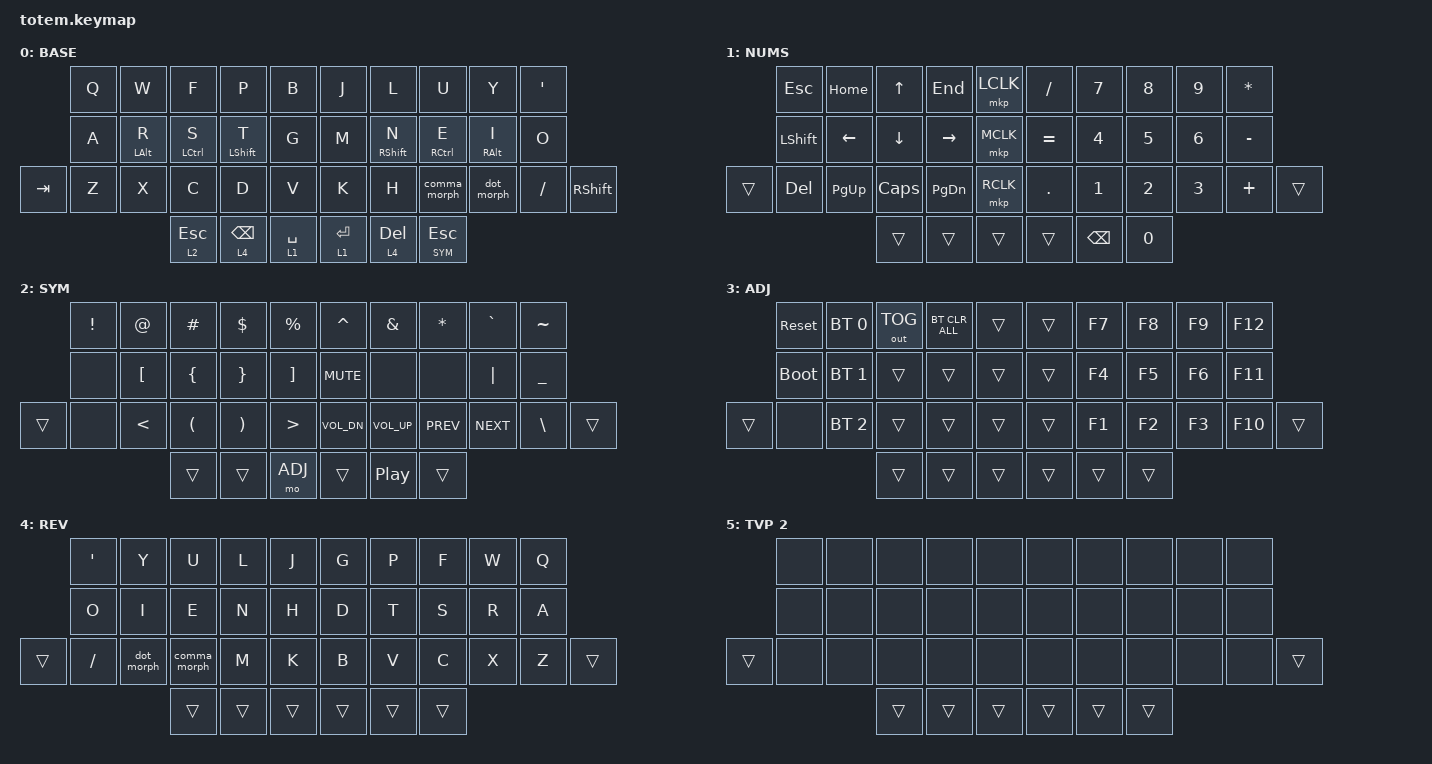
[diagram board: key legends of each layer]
//
//                                                        ▀▀▀▀▀     ▀▀▀▀▀          ▀▀█▀▀
//                                                        ▄▀▀▀▄  ▄  ▄▀▀▀▄  ▄  ▄▀▀▀▄  █  ▄▀▀▀▄
//                                                        █   █  █  █   █  █  █   █  █  █   █
//                                                         ▀▀▀   █   ▀▀▀   █   ▀▀▀   ▀   ▀▀▀
//                                                               █      ▄▄▄█▄▄▄    █   █  
//                                                               ▀      █  █  █     █▄█
//                                                             ▀▀▀▀▀    █  █  █      ▀
//                                                                      ▀  ▀  ▀
//
// ▄▄▄▄▄▄▄▄▄▄▄▄▄▄▄▄▄▄▄▄▄▄▄▄▄▄▄▄▄▄▄▄▄▄▄▄▄▄▄▄▄▄▄▄▄▄▄▄▄▄▄▄▄▄▄▄▄▄▄▄▄▄▄▄▄▄▄▄▄▄▄▄▄▄▄▄▄▄▄▄▄▄▄▄▄▄▄▄▄▄▄▄▄▄▄▄▄▄▄▄▄▄▄▄▄▄▄▄▄▄▄▄▄▄▄▄▄▄▄▄▄▄▄▄▄▄▄▄▄▄▄▄▄▄▄▄▄▄▄▄▄▄▄▄▄▄▄▄▄

#include <dt-bindings/zmk/mouse.h>
#include <behaviors.dtsi>
#include <dt-bindings/zmk/bt.h>
#include <dt-bindings/zmk/keys.h>
#include <dt-bindings/zmk/outputs.h>
#include <dt-bindings/zmk/pointing.h>

#define BASE 0
#define NAV  1
#define SYM  2
#define ADJ  3
#define TVP1 4
#define TVP2 5

&mt {
    flavor = "balanced";
    tapping-term-ms = <280>;
    quick-tap-ms = <175>;
    require-prior-idle-ms = <145>;
    hold-trigger-key-positions = <10 11 12 13 16 17 18 19 37 36 35 34 33 32>;
    hold-trigger-on-release;
};

/ {
    combos {
        compatible = "zmk,combos";

        combo_esc {
            timeout-ms = <50>;
            key-positions = <0 1>;
            bindings = <&kp ESC>;
        };

        combo_rev {
            timeout-ms = <100>;
            key-positions = <1 3>;
            bindings = <&tog TVP1>;
        };

        combo_enter {
            bindings = <&kp ENTER>;
            key-positions = <4 14>;
        };

        combo_numbers {
            bindings = <&tog 1>;
            key-positions = <27 29>;
        };

        combo_enter2 {
            bindings = <&kp ENTER>;
            key-positions = <15 26>;
            layers = <1>;
        };

        combo_Rwin {
            bindings = <&kp RIGHT_WIN>;
            key-positions = <31 9>;
        };

        combo_Lwin {
            bindings = <&kp LEFT_WIN>;
            key-positions = <20 0>;
        };

        combo_Ctrl_C {
            bindings = <&kp LC(C)>;
            key-positions = <23 12>;
        };

        combo_Ctrl_X {
            bindings = <&kp LC(X)>;
            key-positions = <11 22>;
        };

        combo_Ctrl_V {
            bindings = <&kp LC(V)>;
            key-positions = <13 24>;
        };

        combo_Ctrl_Z {
            bindings = <&kp LC(Z)>;
            key-positions = <21 10>;
        };

        combo_Ctrl_S {
            bindings = <&kp LC(S)>;
            key-positions = <2 12>;
        };
    };

    macros {
        gif: gif {
            label = "giphy";
            compatible = "zmk,behavior-macro";
            #binding-cells = <0>;
            bindings =
                <&macro_press>,
                <&kp LSHFT>,
                <&macro_tap>,
                <&kp N2>,
                <&macro_release>,
                <&kp LSHFT>,
                <&macro_tap>,
                <&kp G &kp I &kp F>;
        };
    };

    behaviors {
        comma_morph: comma_morph {
            compatible = "zmk,behavior-mod-morph";
            label = "COMMA_MORPH";
            bindings = <&kp COMMA>, <&kp SEMI>;

            #binding-cells = <0>;
            mods = <(MOD_LSFT|MOD_RSFT)>;
        };

        dot_morph: dot_morph {
            compatible = "zmk,behavior-mod-morph";
            label = "DOT_MORPH";
            bindings = <&kp DOT>, <&kp COLON>;

            #binding-cells = <0>;
            mods = <(MOD_LSFT|MOD_RSFT)>;
        };
    };

    keymap {
        compatible = "zmk,keymap";

        // ▄▄▄▄▄▄▄▄▄▄▄▄▄▄▄▄▄▄▄▄▄▄▄▄▄▄▄▄▄▄▄▄▄▄▄▄▄▄▄▄▄▄▄▄▄▄▄▄▄▄▄▄▄▄▄▄▄▄▄▄▄▄▄▄▄▄▄▄▄▄▄▄▄▄▄▄▄▄▄▄▄▄▄▄▄▄▄▄▄▄▄▄▄▄▄▄▄▄▄▄▄▄▄▄▄▄▄▄▄▄▄▄▄▄▄▄▄▄▄▄▄▄▄▄▄▄▄▄▄▄▄▄▄▄▄▄▄▄▄▄▄▄▄▄▄▄▄▄▄

        base_layer {
            // ┏━━━━━━━━━━━━━━━━━━━━━━━━━━━━━━━━━━━━━━━┓

            label = "BASE";

            // ┗━━━━━━━━━━━━━━━━━━━━━━━━━━━━━━━━━━━━━━━┛
            //  NOTE: Commented layout does not match code, using https://nickcoutsos.github.io/keymap-editor/
            //             ┏━━━━━━━━━━━┳━━━━━━━━━━━┳━━━━━━━━━━━┳━━━━━━━━━━━┳━━━━━━━━━━━┓   ┏━━━━━━━━━━━┳━━━━━━━━━━━┳━━━━━━━━━━━┳━━━━━━━━━━━┳━━━━━━━━━━━┓
            //             ┃           ┃           ┃           ┃           ┃           ┃   ┃           ┃           ┃           ┃           ┃           ┃
            //             ┣━━━━━━━━━━━╋━━━━━━━━━━━╋━━━━━━━━━━━╋━━━━━━━━━━━╋━━━━━━━━━━━┫   ┣━━━━━━━━━━━╋━━━━━━━━━━━╋━━━━━━━━━━━╋━━━━━━━━━━━╋━━━━━━━━━━━┫
            //             ┃           ┃           ┃           ┃           ┃           ┃   ┃           ┃           ┃           ┃           ┃           ┃
            // ┏━━━━━━━━━━━╋━━━━━━━━━━━╋━━━━━━━━━━━╋━━━━━━━━━━━╋━━━━━━━━━━━╋━━━━━━━━━━━┫   ┣━━━━━━━━━━━╋━━━━━━━━━━━╋━━━━━━━━━━━╋━━━━━━━━━━━╋━━━━━━━━━━━╋━━━━━━━━━━━┓
            // ┃           ┃           ┃           ┃           ┃           ┃           ┃   ┃           ┃           ┃           ┃           ┃           ┃           ┃
            // ┗━━━━━━━━━━━┻━━━━━━━━━━━┻━━━━━━━━━━━╋━━━━━━━━━━━╋━━━━━━━━━━━╋━━━━━━━━━━━┫   ┣━━━━━━━━━━━╋━━━━━━━━━━━╋━━━━━━━━━━━╋━━━━━━━━━━━┻━━━━━━━━━━━┻━━━━━━━━━━━┛
            //                                     ┃           ┃           ┃           ┃   ┃           ┃           ┃           ┃
            //                                     ┗━━━━━━━━━━━┻━━━━━━━━━━━┻━━━━━━━━━━━┛   ┗━━━━━━━━━━━┻━━━━━━━━━━━┻━━━━━━━━━━━┛

            bindings = <
         &kp Q  &kp W       &kp F         &kp P            &kp B          &kp J      &kp L         &kp U         &kp Y       &kp SQT
         &kp A  &mt LALT R  &mt LCTRL S   &mt LSHFT T      &kp G          &kp M      &mt RSHFT N   &mt RCTRL E   &mt RALT I  &kp O
&kp TAB  &kp Z  &kp X       &kp C         &kp D            &kp V          &kp K      &kp H         &comma_morph  &dot_morph  &kp FSLH  &kp RIGHT_SHIFT
                            &lt 2 ESCAPE  &lt 4 BACKSPACE  &lt 1 SPACE    &lt 1 RET  &lt 4 DELETE  &lt SYM ESC
            >;
        };

        // ▄▄▄▄▄▄▄▄▄▄▄▄▄▄▄▄▄▄▄▄▄▄▄▄▄▄▄▄▄▄▄▄▄▄▄▄▄▄▄▄▄▄▄▄▄▄▄▄▄▄▄▄▄▄▄▄▄▄▄▄▄▄▄▄▄▄▄▄▄▄▄▄▄▄▄▄▄▄▄▄▄▄▄▄▄▄▄▄▄▄▄▄▄▄▄▄▄▄▄▄▄▄▄▄▄▄▄▄▄▄▄▄▄▄▄▄▄▄▄▄▄▄▄▄▄▄▄▄▄▄▄▄▄▄▄▄▄▄▄▄▄▄▄▄▄▄▄▄▄

        num_layer {
            // ┏━━━━━━━━━━━━━━━━━━━━━━━━━━━━━━━━━━━━━━━┓

            label = "NUMS";

            // ┗━━━━━━━━━━━━━━━━━━━━━━━━━━━━━━━━━━━━━━━┛
            //  NOTE: Commented layout does not match code, using https://nickcoutsos.github.io/keymap-editor/
            //             ┏━━━━━━━━━━━┳━━━━━━━━━━━┳━━━━━━━━━━━┳━━━━━━━━━━━┳━━━━━━━━━━━┓   ┏━━━━━━━━━━━┳━━━━━━━━━━━┳━━━━━━━━━━━┳━━━━━━━━━━━┳━━━━━━━━━━━┓
            //             ┃           ┃           ┃           ┃           ┃           ┃   ┃           ┃           ┃           ┃           ┃           ┃
            //             ┣━━━━━━━━━━━╋━━━━━━━━━━━╋━━━━━━━━━━━╋━━━━━━━━━━━╋━━━━━━━━━━━┫   ┣━━━━━━━━━━━╋━━━━━━━━━━━╋━━━━━━━━━━━╋━━━━━━━━━━━╋━━━━━━━━━━━┫
            //             ┃           ┃           ┃           ┃           ┃           ┃   ┃           ┃           ┃           ┃           ┃           ┃
            // ┏━━━━━━━━━━━╋━━━━━━━━━━━╋━━━━━━━━━━━╋━━━━━━━━━━━╋━━━━━━━━━━━╋━━━━━━━━━━━┫   ┣━━━━━━━━━━━╋━━━━━━━━━━━╋━━━━━━━━━━━╋━━━━━━━━━━━╋━━━━━━━━━━━╋━━━━━━━━━━━┓
            // ┃           ┃           ┃           ┃           ┃           ┃           ┃   ┃           ┃           ┃           ┃           ┃           ┃           ┃
            // ┗━━━━━━━━━━━┻━━━━━━━━━━━┻━━━━━━━━━━━╋━━━━━━━━━━━╋━━━━━━━━━━━╋━━━━━━━━━━━┫   ┣━━━━━━━━━━━╋━━━━━━━━━━━╋━━━━━━━━━━━╋━━━━━━━━━━━┻━━━━━━━━━━━┻━━━━━━━━━━━┛
            //                                     ┃           ┃           ┃           ┃   ┃           ┃           ┃           ┃
            //                                     ┗━━━━━━━━━━━┻━━━━━━━━━━━┻━━━━━━━━━━━┛   ┗━━━━━━━━━━━┻━━━━━━━━━━━┻━━━━━━━━━━━┛

            bindings = <
        &kp ESC     &kp HOME        &kp UP    &kp END          &mkp LCLK    &kp SLASH   &kp N7         &kp N8        &kp NUMBER_9  &kp ASTERISK
        &kp LSHFT   &kp LEFT_ARROW  &kp DOWN  &kp RIGHT_ARROW  &mkp MCLK    &kp EQUAL   &kp NUMBER_4   &kp N5        &kp NUMBER_6  &kp MINUS
&trans  &kp DELETE  &kp PG_UP       &kp CAPS  &kp PG_DN        &mkp RCLK    &kp PERIOD  &kp NUMBER_1   &kp NUMBER_2  &kp NUMBER_3  &kp PLUS      &trans
                                    &trans    &trans           &trans       &trans      &kp BACKSPACE  &kp NUMBER_0
            >;
        };

        // ▄▄▄▄▄▄▄▄▄▄▄▄▄▄▄▄▄▄▄▄▄▄▄▄▄▄▄▄▄▄▄▄▄▄▄▄▄▄▄▄▄▄▄▄▄▄▄▄▄▄▄▄▄▄▄▄▄▄▄▄▄▄▄▄▄▄▄▄▄▄▄▄▄▄▄▄▄▄▄▄▄▄▄▄▄▄▄▄▄▄▄▄▄▄▄▄▄▄▄▄▄▄▄▄▄▄▄▄▄▄▄▄▄▄▄▄▄▄▄▄▄▄▄▄▄▄▄▄▄▄▄▄▄▄▄▄▄▄▄▄▄▄▄▄▄▄▄▄▄

        sim_layer {
            // ┏━━━━━━━━━━━━━━━━━━━━━━━━━━━━━━━━━━━━━━━┓

            label = "SYM";

            // ┗━━━━━━━━━━━━━━━━━━━━━━━━━━━━━━━━━━━━━━━┛
            //  NOTE: Commented layout does not match code, using https://nickcoutsos.github.io/keymap-editor/
            //             ┏━━━━━━━━━━━┳━━━━━━━━━━━┳━━━━━━━━━━━┳━━━━━━━━━━━┳━━━━━━━━━━━┓   ┏━━━━━━━━━━━┳━━━━━━━━━━━┳━━━━━━━━━━━┳━━━━━━━━━━━┳━━━━━━━━━━━┓
            //             ┃           ┃           ┃           ┃           ┃           ┃   ┃           ┃           ┃           ┃           ┃           ┃
            //             ┣━━━━━━━━━━━╋━━━━━━━━━━━╋━━━━━━━━━━━╋━━━━━━━━━━━╋━━━━━━━━━━━┫   ┣━━━━━━━━━━━╋━━━━━━━━━━━╋━━━━━━━━━━━╋━━━━━━━━━━━╋━━━━━━━━━━━┫
            //             ┃           ┃           ┃           ┃           ┃           ┃   ┃           ┃           ┃           ┃           ┃           ┃
            // ┏━━━━━━━━━━━╋━━━━━━━━━━━╋━━━━━━━━━━━╋━━━━━━━━━━━╋━━━━━━━━━━━╋━━━━━━━━━━━┫   ┣━━━━━━━━━━━╋━━━━━━━━━━━╋━━━━━━━━━━━╋━━━━━━━━━━━╋━━━━━━━━━━━╋━━━━━━━━━━━┓
            // ┃           ┃           ┃           ┃           ┃           ┃           ┃   ┃           ┃           ┃           ┃           ┃           ┃           ┃
            // ┗━━━━━━━━━━━┻━━━━━━━━━━━┻━━━━━━━━━━━╋━━━━━━━━━━━╋━━━━━━━━━━━╋━━━━━━━━━━━┫   ┣━━━━━━━━━━━╋━━━━━━━━━━━╋━━━━━━━━━━━╋━━━━━━━━━━━┻━━━━━━━━━━━┻━━━━━━━━━━━┛
            //                                     ┃           ┃           ┃           ┃   ┃           ┃           ┃           ┃
            //                                     ┗━━━━━━━━━━━┻━━━━━━━━━━━┻━━━━━━━━━━━┛   ┗━━━━━━━━━━━┻━━━━━━━━━━━┻━━━━━━━━━━━┛

            bindings = <
        &kp EXCL  &kp AT            &kp HASH              &kp DLLR               &kp PRCNT            &kp CARET     &kp AMPS      &kp ASTRK   &kp GRAVE   &kp TILDE
        &none     &kp LEFT_BRACKET  &kp LEFT_BRACE        &kp RIGHT_BRACE        &kp RIGHT_BRACKET    &kp C_MUTE    &none         &none       &kp PIPE    &kp UNDERSCORE
&trans  &none     &kp LESS_THAN     &kp LEFT_PARENTHESIS  &kp RIGHT_PARENTHESIS  &kp GREATER_THAN     &kp C_VOL_DN  &kp C_VOL_UP  &kp C_PREV  &kp C_NEXT  &kp BSLH        &trans
                                    &trans                &trans                 &mo ADJ              &trans        &kp C_PP      &trans
            >;
        };

        // ▄▄▄▄▄▄▄▄▄▄▄▄▄▄▄▄▄▄▄▄▄▄▄▄▄▄▄▄▄▄▄▄▄▄▄▄▄▄▄▄▄▄▄▄▄▄▄▄▄▄▄▄▄▄▄▄▄▄▄▄▄▄▄▄▄▄▄▄▄▄▄▄▄▄▄▄▄▄▄▄▄▄▄▄▄▄▄▄▄▄▄▄▄▄▄▄▄▄▄▄▄▄▄▄▄▄▄▄▄▄▄▄▄▄▄▄▄▄▄▄▄▄▄▄▄▄▄▄▄▄▄▄▄▄▄▄▄▄▄▄▄▄▄▄▄▄▄▄▄

        adjust_layer {
            // ┏━━━━━━━━━━━━━━━━━━━━━━━━━━━━━━━━━━━━━━━┓

            label = "ADJ";

            // ┗━━━━━━━━━━━━━━━━━━━━━━━━━━━━━━━━━━━━━━━┛
            //  NOTE: Commented layout does not match code, using https://nickcoutsos.github.io/keymap-editor/
            //             ┏━━━━━━━━━━━┳━━━━━━━━━━━┳━━━━━━━━━━━┳━━━━━━━━━━━┳━━━━━━━━━━━┓   ┏━━━━━━━━━━━┳━━━━━━━━━━━┳━━━━━━━━━━━┳━━━━━━━━━━━┳━━━━━━━━━━━┓
            //             ┃           ┃           ┃           ┃           ┃           ┃   ┃           ┃           ┃           ┃           ┃           ┃
            //             ┣━━━━━━━━━━━╋━━━━━━━━━━━╋━━━━━━━━━━━╋━━━━━━━━━━━╋━━━━━━━━━━━┫   ┣━━━━━━━━━━━╋━━━━━━━━━━━╋━━━━━━━━━━━╋━━━━━━━━━━━╋━━━━━━━━━━━┫
            //             ┃           ┃           ┃           ┃           ┃           ┃   ┃           ┃           ┃           ┃           ┃           ┃
            // ┏━━━━━━━━━━━╋━━━━━━━━━━━╋━━━━━━━━━━━╋━━━━━━━━━━━╋━━━━━━━━━━━╋━━━━━━━━━━━┫   ┣━━━━━━━━━━━╋━━━━━━━━━━━╋━━━━━━━━━━━╋━━━━━━━━━━━╋━━━━━━━━━━━╋━━━━━━━━━━━┓
            // ┃           ┃           ┃           ┃           ┃           ┃           ┃   ┃           ┃           ┃           ┃           ┃           ┃           ┃
            // ┗━━━━━━━━━━━┻━━━━━━━━━━━┻━━━━━━━━━━━╋━━━━━━━━━━━╋━━━━━━━━━━━╋━━━━━━━━━━━┫   ┣━━━━━━━━━━━╋━━━━━━━━━━━╋━━━━━━━━━━━╋━━━━━━━━━━━┻━━━━━━━━━━━┻━━━━━━━━━━━┛
            //                                     ┃           ┃           ┃           ┃   ┃           ┃           ┃           ┃
            //                                     ┗━━━━━━━━━━━┻━━━━━━━━━━━┻━━━━━━━━━━━┛   ┗━━━━━━━━━━━┻━━━━━━━━━━━┻━━━━━━━━━━━┛

            bindings = <
        &sys_reset   &bt BT_SEL 0  &out OUT_TOG  &bt BT_CLR_ALL  &trans    &trans  &kp F7  &kp F8  &kp F9  &kp F12
        &bootloader  &bt BT_SEL 1  &trans        &trans          &trans    &trans  &kp F4  &kp F5  &kp F6  &kp F11
&trans  &none        &bt BT_SEL 2  &trans        &trans          &trans    &trans  &kp F1  &kp F2  &kp F3  &kp F10  &trans
                                   &trans        &trans          &trans    &trans  &trans  &trans
            >;
        };

        // ▄▄▄▄▄▄▄▄▄▄▄▄▄▄▄▄▄▄▄▄▄▄▄▄▄▄▄▄▄▄▄▄▄▄▄▄▄▄▄▄▄▄▄▄▄▄▄▄▄▄▄▄▄▄▄▄▄▄▄▄▄▄▄▄▄▄▄▄▄▄▄▄▄▄▄▄▄▄▄▄▄▄▄▄▄▄▄▄▄▄▄▄▄▄▄▄▄▄▄▄▄▄▄▄▄▄▄▄▄▄▄▄▄▄▄▄▄▄▄▄▄▄▄▄▄▄▄▄▄▄▄▄▄▄▄▄▄▄▄▄▄▄▄▄▄▄▄▄▄

        reverse_layer {
            // ┏━━━━━━━━━━━━━━━━━━━━━━━━━━━━━━━━━━━━━━━┓

            label = "REV";

            // ┗━━━━━━━━━━━━━━━━━━━━━━━━━━━━━━━━━━━━━━━┛
            //  NOTE: Commented layout does not match code, using https://nickcoutsos.github.io/keymap-editor/
            //             ┏━━━━━━━━━━━┳━━━━━━━━━━━┳━━━━━━━━━━━┳━━━━━━━━━━━┳━━━━━━━━━━━┓   ┏━━━━━━━━━━━┳━━━━━━━━━━━┳━━━━━━━━━━━┳━━━━━━━━━━━┳━━━━━━━━━━━┓
            //             ┃           ┃           ┃           ┃           ┃           ┃   ┃           ┃           ┃           ┃           ┃           ┃
            //             ┣━━━━━━━━━━━╋━━━━━━━━━━━╋━━━━━━━━━━━╋━━━━━━━━━━━╋━━━━━━━━━━━┫   ┣━━━━━━━━━━━╋━━━━━━━━━━━╋━━━━━━━━━━━╋━━━━━━━━━━━╋━━━━━━━━━━━┫
            //             ┃           ┃           ┃           ┃           ┃           ┃   ┃           ┃           ┃           ┃           ┃           ┃
            // ┏━━━━━━━━━━━╋━━━━━━━━━━━╋━━━━━━━━━━━╋━━━━━━━━━━━╋━━━━━━━━━━━╋━━━━━━━━━━━┫   ┣━━━━━━━━━━━╋━━━━━━━━━━━╋━━━━━━━━━━━╋━━━━━━━━━━━╋━━━━━━━━━━━╋━━━━━━━━━━━┓
            // ┃           ┃           ┃           ┃           ┃           ┃           ┃   ┃           ┃           ┃           ┃           ┃           ┃           ┃
            // ┗━━━━━━━━━━━┻━━━━━━━━━━━┻━━━━━━━━━━━╋━━━━━━━━━━━╋━━━━━━━━━━━╋━━━━━━━━━━━┫   ┣━━━━━━━━━━━╋━━━━━━━━━━━╋━━━━━━━━━━━╋━━━━━━━━━━━┻━━━━━━━━━━━┻━━━━━━━━━━━┛
            //                                     ┃           ┃           ┃           ┃   ┃           ┃           ┃           ┃
            //                                     ┗━━━━━━━━━━━┻━━━━━━━━━━━┻━━━━━━━━━━━┛   ┗━━━━━━━━━━━┻━━━━━━━━━━━┻━━━━━━━━━━━┛

            bindings = <
        &kp SQT   &kp Y       &kp U         &kp L   &kp J     &kp G   &kp P   &kp F   &kp W  &kp Q
        &kp O     &kp I       &kp E         &kp N   &kp H     &kp D   &kp T   &kp S   &kp R  &kp A
&trans  &kp FSLH  &dot_morph  &comma_morph  &kp M   &kp K     &kp B   &kp V   &kp C   &kp X  &kp Z  &trans
                              &trans        &trans  &trans    &trans  &trans  &trans
            >;
        };

        // ▄▄▄▄▄▄▄▄▄▄▄▄▄▄▄▄▄▄▄▄▄▄▄▄▄▄▄▄▄▄▄▄▄▄▄▄▄▄▄▄▄▄▄▄▄▄▄▄▄▄▄▄▄▄▄▄▄▄▄▄▄▄▄▄▄▄▄▄▄▄▄▄▄▄▄▄▄▄▄▄▄▄▄▄▄▄▄▄▄▄▄▄▄▄▄▄▄▄▄▄▄▄▄▄▄▄▄▄▄▄▄▄▄▄▄▄▄▄▄▄▄▄▄▄▄▄▄▄▄▄▄▄▄▄▄▄▄▄▄▄▄▄▄▄▄▄▄▄▄

        tvp2_layer {
            // ┏━━━━━━━━━━━━━━━━━━━━━━━━━━━━━━━━━━━━━━━┓

            label = "TVP 2";

            // ┗━━━━━━━━━━━━━━━━━━━━━━━━━━━━━━━━━━━━━━━┛
            //  NOTE: Commented layout does not match code, using https://nickcoutsos.github.io/keymap-editor/
            //             ┏━━━━━━━━━━━┳━━━━━━━━━━━┳━━━━━━━━━━━┳━━━━━━━━━━━┳━━━━━━━━━━━┓   ┏━━━━━━━━━━━┳━━━━━━━━━━━┳━━━━━━━━━━━┳━━━━━━━━━━━┳━━━━━━━━━━━┓
            //             ┃           ┃           ┃           ┃           ┃           ┃   ┃           ┃           ┃           ┃           ┃           ┃
            //             ┣━━━━━━━━━━━╋━━━━━━━━━━━╋━━━━━━━━━━━╋━━━━━━━━━━━╋━━━━━━━━━━━┫   ┣━━━━━━━━━━━╋━━━━━━━━━━━╋━━━━━━━━━━━╋━━━━━━━━━━━╋━━━━━━━━━━━┫
            //             ┃           ┃           ┃           ┃           ┃           ┃   ┃           ┃           ┃           ┃           ┃           ┃
            // ┏━━━━━━━━━━━╋━━━━━━━━━━━╋━━━━━━━━━━━╋━━━━━━━━━━━╋━━━━━━━━━━━╋━━━━━━━━━━━┫   ┣━━━━━━━━━━━╋━━━━━━━━━━━╋━━━━━━━━━━━╋━━━━━━━━━━━╋━━━━━━━━━━━╋━━━━━━━━━━━┓
            // ┃           ┃           ┃           ┃           ┃           ┃           ┃   ┃           ┃           ┃           ┃           ┃           ┃           ┃
            // ┗━━━━━━━━━━━┻━━━━━━━━━━━┻━━━━━━━━━━━╋━━━━━━━━━━━╋━━━━━━━━━━━╋━━━━━━━━━━━┫   ┣━━━━━━━━━━━╋━━━━━━━━━━━╋━━━━━━━━━━━╋━━━━━━━━━━━┻━━━━━━━━━━━┻━━━━━━━━━━━┛
            //                                     ┃           ┃           ┃           ┃   ┃           ┃           ┃           ┃
            //                                     ┗━━━━━━━━━━━┻━━━━━━━━━━━┻━━━━━━━━━━━┛   ┗━━━━━━━━━━━┻━━━━━━━━━━━┻━━━━━━━━━━━┛

            bindings = <
        &none  &none  &none   &none   &none     &none   &none   &none   &none  &none
        &none  &none  &none   &none   &none     &none   &none   &none   &none  &none
&trans  &none  &none  &none   &none   &none     &none   &none   &none   &none  &none  &trans
                      &trans  &trans  &trans    &trans  &trans  &trans
            >;
        };
    };
};
